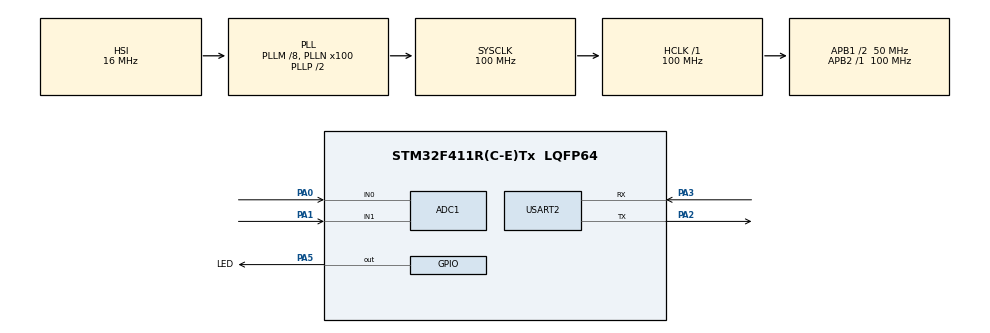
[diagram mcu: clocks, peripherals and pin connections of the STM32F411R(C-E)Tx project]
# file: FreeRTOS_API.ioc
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ADC1.Channel-0\#ChannelRegularConversion=ADC_CHANNEL_0
ADC1.NbrOfConversionFlag=1
ADC1.Rank-0\#ChannelRegularConversion=1
ADC1.SamplingTime-0\#ChannelRegularConversion=ADC_SAMPLETIME_3CYCLES
ADC1.master=1
FREERTOS.Tasks01=defaultTask,24,128,StartDefaultTask,Default,NULL
Mcu.Family=STM32F4
Mcu.Name=STM32F411R(C-E)Tx
Mcu.Package=LQFP64
NVIC.PriorityGroup=NVIC_PRIORITYGROUP_4
NVIC.TIM1_UP_TIM10_IRQn=true\:0\:0\:false\:false\:true\:false\:false\:true
NVIC.TimeBase=TIM1_UP_TIM10_IRQn
NVIC.TimeBaseIP=TIM1
PA0-WKUP.Signal=ADCx_IN0
PA1.Signal=ADCx_IN1
PA13.Mode=Serial_Wire
PA13.Signal=SYS_JTMS-SWDIO
PA14.Mode=Serial_Wire
PA14.Signal=SYS_JTCK-SWCLK
PA2.Mode=Asynchronous
PA2.Signal=USART2_TX
PA3.Mode=Asynchronous
PA3.Signal=USART2_RX
PA5.GPIO_Label=LED
PA5.Signal=GPIO_Output
ProjectManager.HeapSize=0x200
ProjectManager.StackSize=0x400
ProjectManager.TargetToolchain=SW4STM32
RCC.48MHZClocksFreq_Value=50000000
RCC.AHBFreq_Value=100000000
RCC.APB1CLKDivider=RCC_HCLK_DIV2
RCC.APB1Freq_Value=50000000
RCC.APB1TimFreq_Value=100000000
RCC.APB2Freq_Value=100000000
RCC.APB2TimFreq_Value=100000000
RCC.CortexFreq_Value=100000000
RCC.HCLKFreq_Value=100000000
RCC.HSE_VALUE=25000000
RCC.HSI_VALUE=16000000
RCC.LSE_VALUE=32768
RCC.PLLM=8
RCC.PLLN=100
RCC.SYSCLKFreq_VALUE=100000000
RCC.SYSCLKSource=RCC_SYSCLKSOURCE_PLLCLK
RCC.VCOOutputFreq_Value=200000000
SH.ADCx_IN0.0=ADC1_IN0,IN0
SH.ADCx_IN1.0=ADC1_IN1,IN1
USART2.VirtualMode=VM_ASYNC
VP_FREERTOS_VS_CMSIS_V2.Mode=CMSIS_V2
VP_SYS_VS_tim1.Mode=TIM1
board=custom

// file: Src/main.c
/* USER CODE BEGIN Header */
/**
  ******************************************************************************
  * @file           : main.c
  * @brief          : Main program body
  ******************************************************************************
  * @attention
  *
  * <h2><center>&copy; Copyright (c) 2019 STMicroelectronics.
  * All rights reserved.</center></h2>
  *
  * This software component is licensed by ST under Ultimate Liberty license
  * SLA0044, the "License"; You may not use this file except in compliance with
  * the License. You may obtain a copy of the License at:
  *                             www.st.com/SLA0044
  *
  ******************************************************************************
  */
/* USER CODE END Header */

#include "main.h"
#include "cmsis_os.h"

/* USER CODE BEGIN Includes */
#include "FreeRTOS.h"
#include "task.h"
#include "queue.h"
/* USER CODE END Includes */

ADC_HandleTypeDef hadc1;

UART_HandleTypeDef huart2;

/* USER CODE BEGIN PV */
/* Declare a variable of type QueueHandle_t to hold the handle of the queue being created. */
QueueHandle_t xPointerQueue;
/* Declare two variables of type Data_t that will be passed on the queue. */
static Data_t xStructToSend[2] =
{
		{ 100, eSender1 },
		{ 200, eSender2 }
};
/* USER CODE END PV */

void SystemClock_Config(void);
static void MX_GPIO_Init(void);
static void MX_ADC1_Init(void);
static void MX_USART2_UART_Init(void);

/* USER CODE BEGIN PFP */
static void vSenderTask( void *pvParameters );
static void vReceiverTask( void *pvParameters );
void vPrintString(char* message);
void vPrintStringAndNumber(char* str, int32_t num);
/* USER CODE END PFP */

int main(void)
{

  /* MCU Configuration--------------------------------------------------------*/

  /* Reset of all peripherals, Initializes the Flash interface and the Systick. */
  HAL_Init();

  /* Configure the system clock */
  SystemClock_Config();

  /* Initialize all configured peripherals */
  MX_GPIO_Init();
  MX_ADC1_Init();
  MX_USART2_UART_Init();
  /* USER CODE BEGIN 2 */
  /* Create a queue that can hold a maximum of 5 pointers, in this case character pointers. */
  xPointerQueue = xQueueCreate( 5, sizeof( char * ) );

  if( xPointerQueue != NULL){
	  /* Create two instances of the task that will send to the queue. The task
	  parameter is used to pass the structure that the task will write to the queue,
	  so one task will continuously write xStructToSend[ 0 ] to the queue while the other task
	  will continuously write xStructToSend[ 1 ] to the queue. Both tasks are created at
	  priority 1. */
	  xTaskCreate( vSenderTask, "Sender1", 1000, NULL, 2, NULL);
	  // xTaskCreate( vSenderTask, "Sender2", 1000, &( xStructToSend[1] ), 2, NULL);

	  /* Create the task that will read from the queue. The task is created with
	  priority 1, so below the priority of the sender tasks. */
	  xTaskCreate( vReceiverTask, "Receiver", 1000, NULL, 1, NULL );

	  /* Start the scheduler so the task starts executing. */
	  vTaskStartScheduler();

  }
  else {
  }
  /* USER CODE END 2 */
  /* We should never get here as control is now taken by the scheduler */

  /* Infinite loop */
  while (1)
  {

  }
}

void SystemClock_Config(void)
{
  RCC_OscInitTypeDef RCC_OscInitStruct = {0};
  RCC_ClkInitTypeDef RCC_ClkInitStruct = {0};

  /** Configure the main internal regulator output voltage
  */
  __HAL_RCC_PWR_CLK_ENABLE();
  __HAL_PWR_VOLTAGESCALING_CONFIG(PWR_REGULATOR_VOLTAGE_SCALE1);
  /** Initializes the CPU, AHB and APB busses clocks
  */
  RCC_OscInitStruct.OscillatorType = RCC_OSCILLATORTYPE_HSI;
  RCC_OscInitStruct.HSIState = RCC_HSI_ON;
  RCC_OscInitStruct.HSICalibrationValue = RCC_HSICALIBRATION_DEFAULT;
  RCC_OscInitStruct.PLL.PLLState = RCC_PLL_ON;
  RCC_OscInitStruct.PLL.PLLSource = RCC_PLLSOURCE_HSI;
  RCC_OscInitStruct.PLL.PLLM = 8;
  RCC_OscInitStruct.PLL.PLLN = 100;
  RCC_OscInitStruct.PLL.PLLP = RCC_PLLP_DIV2;
  RCC_OscInitStruct.PLL.PLLQ = 4;
  if (HAL_RCC_OscConfig(&RCC_OscInitStruct) != HAL_OK)
  {
    Error_Handler();
  }
  /** Initializes the CPU, AHB and APB busses clocks
  */
  RCC_ClkInitStruct.ClockType = RCC_CLOCKTYPE_HCLK|RCC_CLOCKTYPE_SYSCLK
                              |RCC_CLOCKTYPE_PCLK1|RCC_CLOCKTYPE_PCLK2;
  RCC_ClkInitStruct.SYSCLKSource = RCC_SYSCLKSOURCE_PLLCLK;
  RCC_ClkInitStruct.AHBCLKDivider = RCC_SYSCLK_DIV1;
  RCC_ClkInitStruct.APB1CLKDivider = RCC_HCLK_DIV2;
  RCC_ClkInitStruct.APB2CLKDivider = RCC_HCLK_DIV1;

  if (HAL_RCC_ClockConfig(&RCC_ClkInitStruct, FLASH_LATENCY_3) != HAL_OK)
  {
    Error_Handler();
  }
}

static void MX_ADC1_Init(void)
{

  ADC_ChannelConfTypeDef sConfig = {0};

  /** Configure the global features of the ADC (Clock, Resolution, Data Alignment and number of conversion)
  */
  hadc1.Instance = ADC1;
  hadc1.Init.ClockPrescaler = ADC_CLOCK_SYNC_PCLK_DIV4;
  hadc1.Init.Resolution = ADC_RESOLUTION_12B;
  hadc1.Init.ScanConvMode = DISABLE;
  hadc1.Init.ContinuousConvMode = DISABLE;
  hadc1.Init.DiscontinuousConvMode = DISABLE;
  hadc1.Init.ExternalTrigConvEdge = ADC_EXTERNALTRIGCONVEDGE_NONE;
  hadc1.Init.ExternalTrigConv = ADC_SOFTWARE_START;
  hadc1.Init.DataAlign = ADC_DATAALIGN_RIGHT;
  hadc1.Init.NbrOfConversion = 1;
  hadc1.Init.DMAContinuousRequests = DISABLE;
  hadc1.Init.EOCSelection = ADC_EOC_SINGLE_CONV;
  if (HAL_ADC_Init(&hadc1) != HAL_OK)
  {
    Error_Handler();
  }
  /** Configure for the selected ADC regular channel its corresponding rank in the sequencer and its sample time.
  */
  sConfig.Channel = ADC_CHANNEL_0;
  sConfig.Rank = 1;
  sConfig.SamplingTime = ADC_SAMPLETIME_3CYCLES;
  if (HAL_ADC_ConfigChannel(&hadc1, &sConfig) != HAL_OK)
  {
    Error_Handler();
  }

}

static void MX_USART2_UART_Init(void)
{

  huart2.Instance = USART2;
  huart2.Init.BaudRate = 115200;
  huart2.Init.WordLength = UART_WORDLENGTH_8B;
  huart2.Init.StopBits = UART_STOPBITS_1;
  huart2.Init.Parity = UART_PARITY_NONE;
  huart2.Init.Mode = UART_MODE_TX_RX;
  huart2.Init.HwFlowCtl = UART_HWCONTROL_NONE;
  huart2.Init.OverSampling = UART_OVERSAMPLING_16;
  if (HAL_UART_Init(&huart2) != HAL_OK)
  {
    Error_Handler();
  }

}

static void MX_GPIO_Init(void)
{
  GPIO_InitTypeDef GPIO_InitStruct = {0};

  /* GPIO Ports Clock Enable */
  __HAL_RCC_GPIOA_CLK_ENABLE();

  /*Configure GPIO pin Output Level */
  HAL_GPIO_WritePin(LED_GPIO_Port, LED_Pin, GPIO_PIN_RESET);

  /*Configure GPIO pin : LED_Pin */
  GPIO_InitStruct.Pin = LED_Pin;
  GPIO_InitStruct.Mode = GPIO_MODE_OUTPUT_PP;
  GPIO_InitStruct.Pull = GPIO_NOPULL;
  GPIO_InitStruct.Speed = GPIO_SPEED_FREQ_LOW;
  HAL_GPIO_Init(LED_GPIO_Port, &GPIO_InitStruct);

}

/* USER CODE BEGIN 4 */
static void vSenderTask( void *pvParameters )
{
	char *pcStringToSend;
	const size_t xMaxStringLength = 50;
	BaseType_t xStringNumber = 0;

	BaseType_t xStatus;

	for (;;){
		/* Obtain a buffer that is at least xMaxStringLength characters big. The implementation
		of prvGetBuffer() is not shown – it might obtain the buffer from a pool of pre-allocated
		buffers, or just allocate the buffer dynamically. */
		pcStringToSend = (char * ) pvPortMalloc( xMaxStringLength*sizeof(char));

		/* Write a string into the buffer */
		snprintf(pcStringToSend, xMaxStringLength, "String number %d\r\n", xStringNumber);

		/* Increment the string counter */
		xStringNumber ++;

		/* Send the address of the buffer to the queue that was created in Listing 52. The
		address of the buffer is stored in the pcStringToSend variable.*/
		xStatus = xQueueSend( xPointerQueue, /* The handle of the queue */
							  &pcStringToSend, /* the address of the pointer that points into the buffer */
							  portMAX_DELAY );

		if (xStatus != pdPASS ){
			/* The send operation could not complete because the queue was full -
			this must be an error as the queue should never contain more than
			one item! */
			vPrintString( "Could not send to the queue.\r\n" );
		}
	}
}

static void vReceiverTask (void *pvParameters )
{
	char *pcReceivedString;
	BaseType_t xStatus;

	for (;;) {
		/* Receive the address of the buffer */
		xStatus = xQueueReceive( xPointerQueue,
								 &pcReceivedString,
								 portMAX_DELAY);

				if (xStatus == pdPASS ){
					/* The buffer holds a string, print it out */
					vPrintString( pcReceivedString );

					/* The buffer is not required anymore - release it so it can be freed */
					vPortFree(pcReceivedString);
				}
				else {
					/* Nothing was received from the queue. This must be an error as this
					 * task should only run when the queue is full. */
					vPrintString( "Could not receive from the queue.\r\n" );
				}
	}
}

void vPrintString(char* message){
	HAL_UART_Transmit(&huart2, (uint8_t*)message, strlen(message), 0xFFFF);
}

void vPrintStringAndNumber(char* str, int32_t num){
/* Dumb function that concatenaters max 30-char long string and 10-char long number */
	char result[30] = "";
    char strnum[10] = "";

    sprintf(strnum, "%ld \n\r", num);

    strcpy(result, str);
	strcat(result, strnum);

	vPrintString(result);
}
/* USER CODE END 4 */

void HAL_TIM_PeriodElapsedCallback(TIM_HandleTypeDef *htim)
{
  if (htim->Instance == TIM1) {
    HAL_IncTick();
  }
}

void Error_Handler(void)
{
}

/************************ (C) COPYRIGHT STMicroelectronics *****END OF FILE****/
